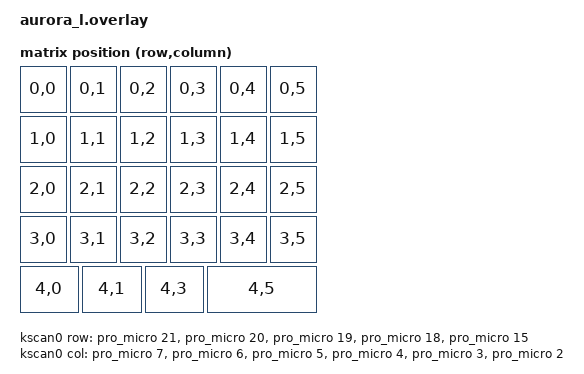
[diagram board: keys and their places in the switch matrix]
#include <dt-bindings/zmk/matrix_transform.h>
#include <physical_layouts.dtsi>

/ {
    chosen {
        zmk,kscan = &kscan0;
        zmk,matrix_transform = &default_transform;
        zmk,physical-layout = &default_layout;
    };

    default_transform: keymap_transform_0 {
        compatible = "zmk,matrix-transform";
        rows = <5>;
        columns = <6>;
        // | Key 1  | Key 2  | Key 3  | Key 4  | Key 5  | Key 6  |                 | Key 1  | Key 2  | Key 3  | Key 4  | Key 5  | Key 6  | Key 7  | Key 8  |
        // | Key 7  | Key 8  | Key 9  | Key 10 | Key 11 | Key 12 |                 | Key 9  | Key 10 | Key 11 | Key 12 | Key 13 | Key 14 | Key 15 | Key 16 |
        // | Key 13 | Key 14 | Key 15 | Key 16 | Key 17 | Key 18 |                 | Key 17 | Key 18 | Key 19 | Key 20 | Key 21 | Key 22 | Key 23 | EncBtn |
        // | Key 19 | Key 20 | Key 21 | Key 22 | Key 23 | Key 24 |                 | Key 24 | Key 25 | Key 26 | Key 27 | Key 28 | Key 29 | Key 30 | Key 31 |
        // | Key 25 | Key 26 |    -   | Key 27 |    -   | Key 28 |                 | Key 32 | Key 33 | Key 34 | Key 35 |    -   | Key 36 | Key 37 | Key 38 |
        map = <
            RC(0,0) RC(0,1) RC(0,2) RC(0,3) RC(0,4) RC(0,5)
            RC(1,0) RC(1,1) RC(1,2) RC(1,3) RC(1,4) RC(1,5)
            RC(2,0) RC(2,1) RC(2,2) RC(2,3) RC(2,4) RC(2,5)
            RC(3,0) RC(3,1) RC(3,2) RC(3,3) RC(3,4) RC(3,5)
            RC(4,0) RC(4,1)         RC(4,3)         RC(4,5)
        >;
    };

    kscan0: kscan {
        compatible = "zmk,kscan-gpio-matrix";
        diode-direction = "col2row";
        wakeup-source;
        row-gpios
            = <&pro_micro 21 (GPIO_ACTIVE_HIGH | GPIO_PULL_DOWN)>
            , <&pro_micro 20 (GPIO_ACTIVE_HIGH | GPIO_PULL_DOWN)>
            , <&pro_micro 19 (GPIO_ACTIVE_HIGH | GPIO_PULL_DOWN)>
            , <&pro_micro 18 (GPIO_ACTIVE_HIGH | GPIO_PULL_DOWN)>
            , <&pro_micro 15 (GPIO_ACTIVE_HIGH | GPIO_PULL_DOWN)>;
        
        col-gpios
        = <&pro_micro 7 (GPIO_ACTIVE_HIGH | GPIO_PULL_DOWN)>
        , <&pro_micro 6 (GPIO_ACTIVE_HIGH | GPIO_PULL_DOWN)>
        , <&pro_micro 5 (GPIO_ACTIVE_HIGH | GPIO_PULL_DOWN)>
        , <&pro_micro 4 (GPIO_ACTIVE_HIGH | GPIO_PULL_DOWN)>
        , <&pro_micro 3 (GPIO_ACTIVE_HIGH | GPIO_PULL_DOWN)>
        , <&pro_micro 2 (GPIO_ACTIVE_HIGH | GPIO_PULL_DOWN)>;
    };

    default_layout: physical_layout0 {
        compatible = "zmk,physical-layout";
        display-name = "Default";

        transform = <&default_transform>;
        kscan = <&kscan0>;

        keys  //                     w   h    x    y     rot    rx    ry
            = <&key_physical_attrs 100 100    0    0       0     0     0>
            , <&key_physical_attrs 100 100  100    0       0     0     0>
            , <&key_physical_attrs 100 100  200    0       0     0     0>
            , <&key_physical_attrs 100 100  300    0       0     0     0>
            , <&key_physical_attrs 100 100  400    0       0     0     0>
            , <&key_physical_attrs 100 100  500    0       0     0     0>
            , <&key_physical_attrs 100 100    0  100       0     0     0>
            , <&key_physical_attrs 100 100  100  100       0     0     0>
            , <&key_physical_attrs 100 100  200  100       0     0     0>
            , <&key_physical_attrs 100 100  300  100       0     0     0>
            , <&key_physical_attrs 100 100  400  100       0     0     0>
            , <&key_physical_attrs 100 100  500  100       0     0     0>
            , <&key_physical_attrs 100 100    0  200       0     0     0>
            , <&key_physical_attrs 100 100  100  200       0     0     0>
            , <&key_physical_attrs 100 100  200  200       0     0     0>
            , <&key_physical_attrs 100 100  300  200       0     0     0>
            , <&key_physical_attrs 100 100  400  200       0     0     0>
            , <&key_physical_attrs 100 100  500  200       0     0     0>
            , <&key_physical_attrs 100 100    0  300       0     0     0>
            , <&key_physical_attrs 100 100  100  300       0     0     0>
            , <&key_physical_attrs 100 100  200  300       0     0     0>
            , <&key_physical_attrs 100 100  300  300       0     0     0>
            , <&key_physical_attrs 100 100  400  300       0     0     0>
            , <&key_physical_attrs 100 100  500  300       0     0     0>
            , <&key_physical_attrs 125 100    0  400       0     0     0>
            , <&key_physical_attrs 125 100  125  400       0     0     0>
            , <&key_physical_attrs 125 100  250  400       0     0     0>
            , <&key_physical_attrs 225 100  375  400       0     0     0>
            ;
    };
};

&pinctrl {
    spi0_default: spi0_default {
        group1 {
            psels = <NRF_PSEL(SPIM_SCK, 1, 2)>,
                <NRF_PSEL(SPIM_MOSI, 1, 7)>,
                <NRF_PSEL(SPIM_MISO, 0, 25)>;
        };
    };
    spi0_sleep: spi0_sleep {
        group1 {
            psels = <NRF_PSEL(SPIM_SCK, 1, 2)>,
                <NRF_PSEL(SPIM_MOSI, 1, 7)>,
                <NRF_PSEL(SPIM_MISO, 0, 25)>;
            low-power-enable;
        };
    };
};

nice_view_spi: &spi0 {
    compatible = "nordic,nrf-spim";
    status = "okay";
    pinctrl-0 = <&spi0_default>;
    pinctrl-1 = <&spi0_sleep>;
    pinctrl-names = "default", "sleep";
    cs-gpios = <&gpio1 1 GPIO_ACTIVE_HIGH>;
};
